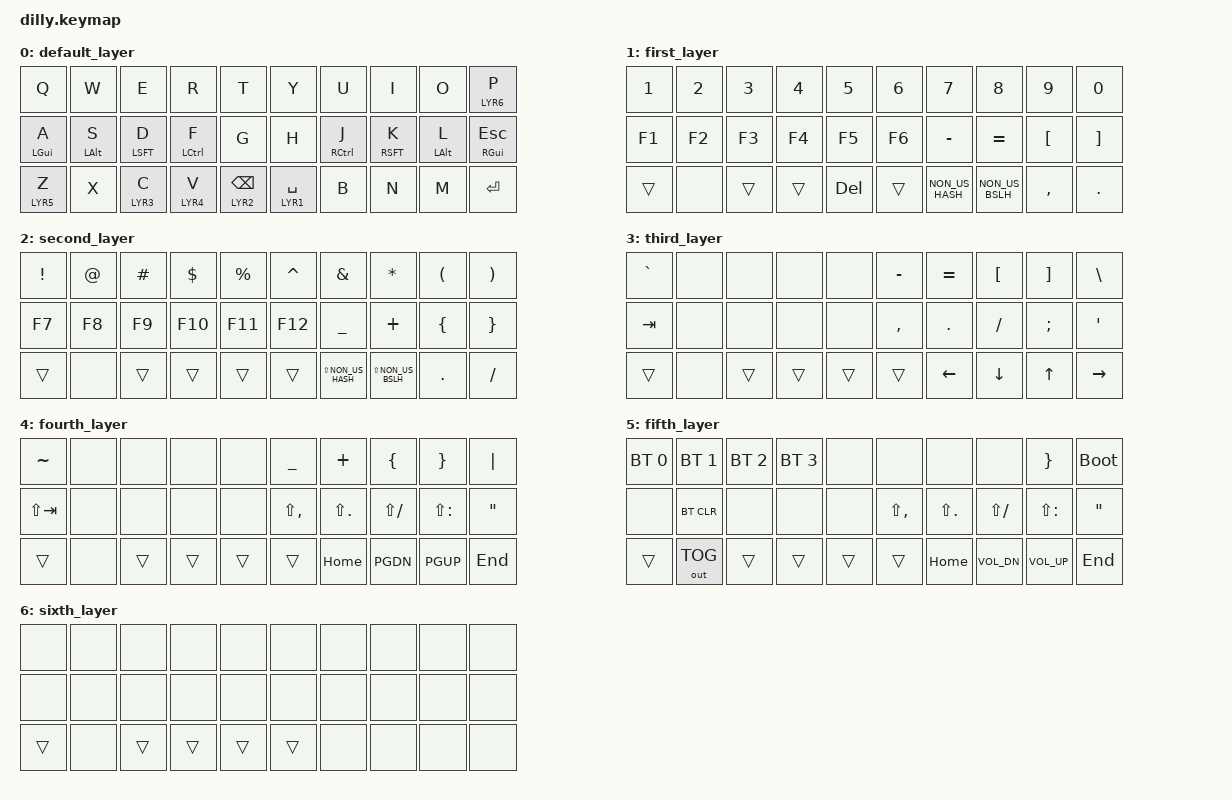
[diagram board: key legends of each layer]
#include <behaviors.dtsi>
#include <dt-bindings/zmk/keys.h>
#include <dt-bindings/zmk/bt.h>
#include <dt-bindings/zmk/outputs.h>

#define LYR1 1
#define LYR2 2
#define LYR3 3
#define LYR4 4
#define LYR5 5
#define LYR6 6

/ {
    behaviors {
    	hm: homerow_mods {
	    compatible = "zmk,behavior-hold-tap";
	    label = "HOMEROW_MODS";
	    #binding-cells = <2>;
	    tapping-term-ms = <150>;
	    quick-tap-ms = <200>;
	    flavor = "tap-preferred";
	    bindings = <&kp>, <&kp>;
        };
    };
};

/ {
    keymap {
    	compatible = "zmk,keymap";
	default_layer {
	    bindings = <
&kp Q      &kp W      &kp E      &kp R      &kp T         &kp Y        &kp U      &kp I      &kp O      &lt LYR6 P
&hm LGUI A &hm LALT S &hm LSFT D &hm LCTL F &kp G         &kp H        &hm RCTL J &hm RSFT K &hm LALT L &hm RGUI ESC
&lt LYR5 Z &kp X      &lt LYR3 C &lt LYR4 V &lt LYR2 BSPC &lt LYR1 SPC &kp B      &kp N      &kp M      &kp ENTER
    	    >;
	};

	first_layer {
	    bindings = <
&kp N1  &kp N2  &kp N3  &kp N4  &kp N5  &kp N6  &kp N7          &kp N8          &kp N9    &kp N0
&kp F1  &kp F2  &kp F3  &kp F4  &kp F5  &kp F6  &kp MINUS       &kp EQL         &kp LBKT  &kp RBKT
&trans  &none   &trans  &trans  &kp DEL &trans  &kp NON_US_HASH &kp NON_US_BSLH &kp COMMA &kp DOT
    	    >;
	};

	second_layer {
	    bindings = <
&kp EXCL &kp AT &kp HASH &kp DLLR &kp PRCNT &kp CARET &kp AMPS        &kp STAR        &kp LPAR  &kp RPAR
&kp F7  &kp F8  &kp F9   &kp F10  &kp F11   &kp F12   &kp UNDER       &kp PLUS        &kp LBRC  &kp RBRC
&trans  &none   &trans   &trans   &trans    &trans    &kp LS(NON_US_HASH) &kp LS(NON_US_BSLH) &kp DOT &kp SLASH
    	    >;
	};

	third_layer {
	    bindings = <
&kp GRAVE &none  &none  &none  &none   &kp MINUS  &kp EQUAL  &kp LBKT   &kp RBKT &kp BSLH
&kp TAB   &none  &none  &none  &none   &kp COMMA  &kp DOT    &kp SLASH  &kp SEMI &kp SQT
&trans    &none  &trans &trans &trans  &trans     &kp LEFT   &kp DOWN   &kp UP   &kp RIGHT
	    >;
	};

	fourth_layer {
	    bindings = <
&kp TILDE   &none  &none  &none  &none   &kp UNDER  &kp PLUS   &kp LBRC   &kp RBRC &kp PIPE
&kp LS(TAB) &none  &none  &none  &none   &kp LS(COMMA) &kp LS(DOT) &kp LS(SLASH) &kp LS(COLON) &kp DQT
&trans      &none  &trans &trans &trans  &trans     &kp HOME   &kp PGDN   &kp PGUP &kp END
	    >;
	};
	fifth_layer {
	    bindings = <
&bt BT_SEL 0  &bt BT_SEL 1  &bt BT_SEL 2  &bt BT_SEL 3  &none   &none  &none  &none  &kp RBRC  &bootloader 
&none         &bt BT_CLR    &none         &none         &none   &kp LS(COMMA) &kp LS(DOT) &kp LS(SLASH) &kp LS(COLON) &kp DQT
&trans        &out OUT_TOG  &trans &trans &trans  &trans     &kp HOME   &kp C_VOL_DN &kp C_VOL_UP &kp END
	    >;
	};
	sixth_layer {
	    bindings = <
&none  &none  &none  &none  &none  &none  &none  &none  &none  &none  
&none  &none  &none  &none  &none  &none  &none  &none  &none  &none  
&trans &none  &trans &trans &trans &trans &none  &none  &none  &none  
	    >;
	};
    };
};
